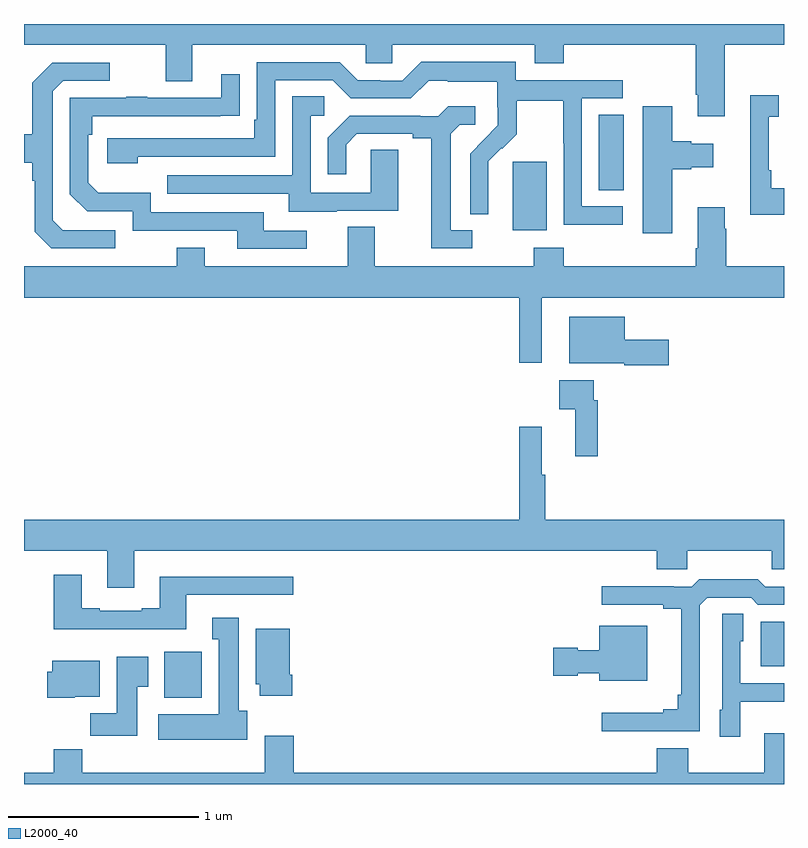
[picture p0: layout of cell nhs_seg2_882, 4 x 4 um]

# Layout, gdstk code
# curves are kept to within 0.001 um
import gdstk
lib = gdstk.Library(unit=1e-6, precision=1e-09)
def R(c, l, rs):  # rectangles x0, y0, x1, y1
    for r in rs: c.add(gdstk.rectangle(r[:2], r[2:], *l))
def P(c, l, *ps):  # polygons
    for p in ps: c.add(gdstk.Polygon(p, *l))
L2000_40 = (2000, 40)

nhs_seg2_882 = lib.new_cell('nhs_seg2_882')
R(nhs_seg2_882, L2000_40, [(157.739,588.254,157.936,588.496), (160.877,588.419,161,588.655), (159.572,590.714,159.751,591.075), (160.025,590.926,160.156,591.323)])
P(nhs_seg2_882, L2000_40, [(160.687,591.692),(161,591.692),(161,591.8),(157,591.8),(157,591.692),(157.745,591.692),(157.745,591.498),(157.885,591.498),(157.885,591.692),(158.799,591.692),(158.799,591.594),(158.937,591.594),(158.937,591.692),(159.689,591.692),(159.689,591.593),(159.842,591.593),(159.842,591.692),(160.535,591.692),(160.535,591.427),(160.547,591.427),(160.547,591.315),(160.687,591.315)],
  [(160.15,590.841),(159.936,590.841),(159.936,591.408),(160.15,591.408),(160.15,591.504),(159.588,591.504),(159.588,591.601),(159.091,591.601),(158.991,591.501),(158.876,591.501),(158.876,591.504),(158.757,591.504),(158.661,591.6),(158.226,591.6),(158.226,591.295),(158.213,591.295),(158.213,591.198),(157.437,591.198),(157.437,591.068),(157.598,591.068),(157.598,591.102),(158.322,591.102),(158.322,591.504),(158.625,591.504),(158.721,591.408),(159.036,591.408),(159.129,591.501),(159.229,591.501),(159.229,591.497),(159.492,591.497),(159.492,591.363),(159.494,591.363),(159.494,591.266),(159.348,591.118),(159.348,590.8),(159.444,590.8),(159.443,591.077),(159.513,591.147),(159.516,591.144),(159.593,591.221),(159.593,591.396),(159.838,591.396),(159.838,591.172),(159.84,591.172),(159.84,590.743),(160.15,590.743)],
  [(157.48,590.715),(157.203,590.715),(157.152,590.766),(157.152,591.447),(157.206,591.501),(157.45,591.501),(157.45,591.597),(157.149,591.597),(157.044,591.491),(157.044,591.219),(157,591.219),(157,591.071),(157.044,591.071),(157.044,590.975),(157.056,590.975),(157.056,590.706),(157.143,590.619),(157.48,590.619)],
  [(158.488,590.712),(158.263,590.712),(158.263,590.808),(157.668,590.808),(157.668,590.911),(157.391,590.911),(157.338,590.964),(157.338,591.218),(157.358,591.218),(157.358,591.315),(158.135,591.316),(158.135,591.535),(158.039,591.535),(158.039,591.411),(157.649,591.411),(157.649,591.416),(157.537,591.416),(157.537,591.411),(157.242,591.411),(157.242,590.904),(157.332,590.814),(157.572,590.814),(157.572,590.712),(158.123,590.712),(158.123,590.616),(158.488,590.616)],
  [(161,590.935),(160.933,590.935),(160.933,591.031),(160.92,591.031),(160.92,591.311),(160.972,591.311),(160.972,591.424),(160.823,591.424),(160.823,590.795),(161,590.795)],
  [(158.647,590.817),(158.971,590.817),(158.971,591.137),(158.826,591.137),(158.826,590.913),(158.508,590.913),(158.508,591.318),(158.581,591.318),(158.581,591.419),(158.412,591.419),(158.412,591.003),(157.753,591.003),(157.753,590.907),(158.393,590.907),(158.393,590.813),(158.647,590.813)],
  [(159.358,590.715),(159.247,590.715),(159.247,591.223),(159.294,591.27),(159.376,591.27),(159.376,591.367),(159.232,591.367),(159.18,591.315),(159.086,591.315),(159.086,591.318),(158.714,591.318),(158.598,591.202),(158.598,591.009),(158.695,591.009),(158.695,591.165),(158.752,591.222),(159.047,591.222),(159.047,591.2),(159.143,591.2),(159.143,590.619),(159.358,590.619)],
  [(160.411,591.035),(160.511,591.035),(160.511,591.047),(160.627,591.047),(160.627,591.169),(160.511,591.169),(160.511,591.182),(160.411,591.182),(160.411,591.367),(160.256,591.367),(160.256,590.7),(160.411,590.7)],
  [(159.724,590.36),(161,590.36),(161,590.524),(160.695,590.524),(160.695,590.723),(160.687,590.723),(160.687,590.836),(160.547,590.836),(160.547,590.62),(160.535,590.62),(160.535,590.524),(159.842,590.524),(159.842,590.623),(159.682,590.623),(159.682,590.524),(158.845,590.524),(158.845,590.732),(158.705,590.732),(158.705,590.524),(157.951,590.524),(157.951,590.623),(157.804,590.623),(157.804,590.524),(157,590.524),(157,590.36),(159.607,590.36),(159.607,590.016),(159.724,590.016)],
  [(160.393,590.137),(160.162,590.137),(160.162,590.26),(159.869,590.26),(159.869,590.015),(160.158,590.015),(160.158,590.003),(160.393,590.003)],
  [(160.019,589.82),(159.999,589.82),(159.999,589.924),(159.816,589.924),(159.816,589.772),(159.902,589.772),(159.902,589.524),(160.019,589.524)],
  [(157.579,589.028),(160.331,589.028),(160.331,588.93),(160.491,588.93),(160.491,589.028),(160.936,589.028),(160.936,588.93),(161,588.93),(161,589.192),(159.743,589.192),(159.743,589.428),(159.725,589.428),(159.725,589.681),(159.607,589.681),(159.607,589.192),(157,589.192),(157,589.028),(157.439,589.028),(157.439,588.834),(157.579,588.834)],
  [(157.855,588.795),(158.416,588.795),(158.416,588.892),(157.715,588.892),(157.715,588.724),(157.619,588.724),(157.619,588.711),(157.399,588.711),(157.399,588.724),(157.303,588.724),(157.303,588.901),(157.156,588.901),(157.156,588.614),(157.855,588.614)],
  [(160.557,588.741),(160.596,588.78),(160.827,588.78),(160.863,588.744),(161,588.744),(161,588.837),(160.902,588.837),(160.863,588.877),(160.555,588.877),(160.515,588.837),(160.421,588.837),(160.421,588.842),(160.041,588.842),(160.041,588.744),(160.364,588.744),(160.364,588.722),(160.46,588.722),(160.46,588.271),(160.441,588.271),(160.441,588.194),(160.364,588.194),(160.364,588.175),(160.041,588.175),(160.041,588.078),(160.557,588.078)],
  [(160.77,588.233),(161,588.233),(161,588.33),(160.77,588.33),(160.77,588.552),(160.786,588.552),(160.786,588.695),(160.674,588.695),(160.674,588.192),(160.661,588.192),(160.661,588.048),(160.77,588.048)],
  [(158.176,588.186),(158.131,588.186),(158.131,588.676),(157.991,588.676),(157.991,588.563),(158.024,588.563),(158.024,588.166),(157.707,588.166),(157.707,588.032),(158.176,588.032)],
  [(160.279,588.634),(160.028,588.634),(160.028,588.505),(159.915,588.505),(159.915,588.518),(159.786,588.518),(159.786,588.371),(159.915,588.371),(159.915,588.383),(160.028,588.383),(160.028,588.344),(160.279,588.344)],
  [(158.411,588.376),(158.398,588.376),(158.398,588.616),(158.219,588.616),(158.219,588.324),(158.24,588.324),(158.24,588.264),(158.411,588.264)],
  [(157.597,588.313),(157.654,588.313),(157.654,588.469),(157.487,588.469),(157.487,588.172),(157.348,588.172),(157.348,588.054),(157.597,588.054)],
  [(157.266,588.26),(157.399,588.26),(157.399,588.448),(157.148,588.448),(157.148,588.39),(157.123,588.39),(157.123,588.254),(157.266,588.254)],
  [(161,588.067),(160.895,588.067),(160.895,587.86),(160.495,587.86),(160.495,587.989),(160.331,587.989),(160.331,587.86),(158.42,587.86),(158.42,588.055),(158.267,588.055),(158.267,587.86),(157.307,587.86),(157.307,587.984),(157.156,587.984),(157.156,587.86),(157,587.86),(157,587.8),(161,587.8)])

lib.write_gds('nhs_seg2_882.gds')
